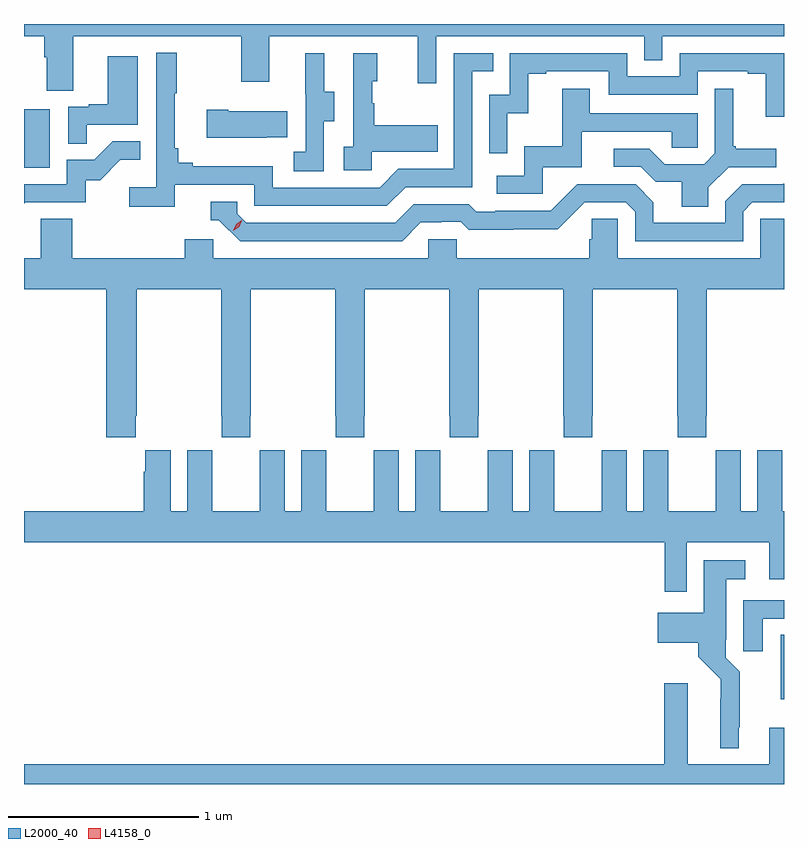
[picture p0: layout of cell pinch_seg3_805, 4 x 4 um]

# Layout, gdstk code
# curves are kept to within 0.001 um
import gdstk
lib = gdstk.Library(unit=1e-6, precision=1e-09)
def R(c, l, rs):  # rectangles x0, y0, x1, y1
    for r in rs: c.add(gdstk.rectangle(r[:2], r[2:], *l))
def P(c, l, *ps):  # polygons
    for p in ps: c.add(gdstk.Polygon(p, *l))
L2000_40 = (2000, 40)
L4158_0 = (4158, 0)

pinch_seg3_805 = lib.new_cell('pinch_seg3_805')
R(pinch_seg3_805, L2000_40, [(866.855,706.749,866.872,707.09), (862.872,709.548,863.008,709.855)])
P(pinch_seg3_805, L2000_40, [(863.131,710.24),(864.016,710.24),(864.016,710.001),(864.163,710.001),(864.163,710.24),(864.944,710.24),(864.944,709.992),(865.041,709.992),(865.041,710.24),(866.136,710.24),(866.136,710.113),(866.232,710.113),(866.232,710.24),(866.872,710.24),(866.872,710.304),(862.872,710.304),(862.872,710.24),(862.979,710.24),(862.979,710.128),(862.991,710.128),(862.991,709.954),(863.131,709.954)],
  [(863.666,709.458),(864.084,709.458),(864.084,709.347),(864.781,709.347),(864.88,709.446),(865.23,709.446),(865.23,710.055),(865.343,710.055),(865.343,710.151),(865.134,710.151),(865.134,709.542),(864.843,709.542),(864.744,709.443),(864.18,709.443),(864.18,709.555),(863.761,709.555),(863.761,709.574),(863.684,709.574),(863.684,709.651),(863.665,709.651),(863.665,709.939),(863.677,709.939),(863.677,710.152),(863.568,710.152),(863.568,709.444),(863.427,709.444),(863.427,709.342),(863.666,709.342)],
  [(865.416,709.835),(865.526,709.835),(865.526,710.043),(865.621,710.043),(865.621,710.055),(865.95,710.055),(865.95,709.932),(866.418,709.932),(866.418,710.055),(866.681,710.055),(866.681,710.043),(866.777,710.043),(866.777,709.817),(866.872,709.817),(866.872,710.151),(866.322,710.151),(866.322,710.028),(866.046,710.028),(866.046,710.151),(865.428,710.151),(865.428,709.932),(865.32,709.932),(865.32,709.623),(865.416,709.623)],
  [(864.45,709.792),(864.505,709.792),(864.505,709.947),(864.451,709.947),(864.451,710.149),(864.353,710.149),(864.353,709.935),(864.354,709.935),(864.354,709.631),(864.291,709.631),(864.291,709.528),(864.45,709.528)],
  [(864.702,709.631),(865.049,709.631),(865.049,709.771),(864.715,709.771),(864.715,709.886),(864.705,709.886),(864.705,710.004),(864.73,710.004),(864.73,710.149),(864.606,710.149),(864.606,709.658),(864.555,709.658),(864.555,709.533),(864.702,709.533)],
  [(863.201,709.773),(863.47,709.773),(863.47,710.134),(863.312,710.134),(863.312,709.882),(863.213,709.882),(863.213,709.869),(863.106,709.869),(863.106,709.675),(863.201,709.675)],
  [(865.602,709.551),(865.807,709.551),(865.807,709.737),(866.281,709.737),(866.281,709.653),(866.418,709.653),(866.418,709.833),(865.849,709.833),(865.849,709.963),(865.705,709.963),(865.705,709.66),(865.506,709.66),(865.506,709.506),(865.359,709.506),(865.359,709.41),(865.602,709.41)],
  [(866.473,709.444),(866.58,709.551),(866.83,709.551),(866.83,709.648),(866.617,709.648),(866.617,709.66),(866.605,709.66),(866.605,709.963),(866.508,709.963),(866.508,709.623),(866.451,709.566),(866.245,709.566),(866.164,709.647),(865.977,709.647),(865.977,709.554),(866.118,709.554),(866.198,709.474),(866.333,709.474),(866.333,709.342),(866.473,709.342)],
  [(864.149,709.709),(864.257,709.709),(864.257,709.846),(863.947,709.846),(863.947,709.854),(863.835,709.854),(863.835,709.706),(864.149,709.706)],
  [(862.877,709.365),(863.196,709.365),(863.196,709.482),(863.272,709.482),(863.379,709.589),(863.483,709.589),(863.483,709.688),(863.339,709.688),(863.241,709.59),(863.097,709.59),(863.097,709.461),(862.872,709.461),(862.872,709.36),(862.877,709.36)],
  [(864.961,709.26),(865.068,709.26),(865.068,709.263),(865.171,709.263),(865.213,709.221),(865.446,709.221),(865.446,709.223),(865.682,709.223),(865.824,709.365),(866.04,709.365),(866.088,709.317),(866.088,709.161),(866.658,709.161),(866.658,709.317),(866.706,709.365),(866.872,709.365),(866.872,709.463),(866.868,709.463),(866.868,709.461),(866.652,709.461),(866.562,709.371),(866.562,709.257),(866.185,709.257),(866.185,709.367),(866.091,709.461),(865.785,709.461),(865.644,709.32),(865.351,709.32),(865.351,709.317),(865.252,709.317),(865.213,709.356),(864.924,709.356),(864.825,709.257),(864.042,709.257),(863.994,709.305),(863.994,709.368),(863.855,709.368),(863.855,709.272),(863.898,709.272),(864.009,709.161),(864.862,709.161)],
  [(863.911,708.241),(863.913,708.241),(863.913,708.129),(864.063,708.129),(864.063,708.241),(864.066,708.241),(864.066,708.908),(864.511,708.908),(864.511,708.241),(864.513,708.241),(864.513,708.129),(864.663,708.129),(864.663,708.241),(864.666,708.241),(864.666,708.908),(865.111,708.908),(865.111,708.241),(865.113,708.241),(865.113,708.129),(865.263,708.129),(865.263,708.241),(865.266,708.241),(865.266,708.908),(865.711,708.908),(865.711,708.241),(865.713,708.241),(865.713,708.129),(865.863,708.129),(865.863,708.241),(865.866,708.241),(865.866,708.908),(866.311,708.908),(866.311,708.241),(866.313,708.241),(866.313,708.129),(866.463,708.129),(866.463,708.241),(866.466,708.241),(866.466,708.908),(866.872,708.908),(866.872,709.28),(866.748,709.28),(866.748,709.072),(865.998,709.072),(865.998,709.28),(865.861,709.28),(865.861,709.17),(865.847,709.17),(865.847,709.072),(865.149,709.072),(865.149,709.17),(864.999,709.17),(864.999,709.072),(863.868,709.072),(863.868,709.17),(863.717,709.17),(863.717,709.072),(863.126,709.072),(863.126,709.28),(862.961,709.28),(862.961,709.072),(862.872,709.072),(862.872,708.908),(863.306,708.908),(863.306,708.129),(863.459,708.129),(863.459,708.241),(863.466,708.241),(863.466,708.908),(863.911,708.908)],
  [(866.361,707.576),(866.795,707.576),(866.795,707.382),(866.872,707.382),(866.872,707.74),(866.863,707.74),(866.863,707.948),(866.862,707.948),(866.862,708.061),(866.732,708.061),(866.732,707.74),(866.644,707.74),(866.644,708.061),(866.514,708.061),(866.514,707.948),(866.513,707.948),(866.513,707.74),(866.263,707.74),(866.263,707.948),(866.262,707.948),(866.262,708.061),(866.132,708.061),(866.132,707.74),(866.044,707.74),(866.044,708.061),(865.914,708.061),(865.914,707.948),(865.913,707.948),(865.913,707.74),(865.663,707.74),(865.663,707.948),(865.662,707.948),(865.662,708.061),(865.532,708.061),(865.532,707.74),(865.444,707.74),(865.444,708.061),(865.314,708.061),(865.314,707.948),(865.313,707.948),(865.313,707.74),(865.063,707.74),(865.063,707.948),(865.062,707.948),(865.062,708.061),(864.932,708.061),(864.932,707.74),(864.844,707.74),(864.844,708.061),(864.714,708.061),(864.714,707.948),(864.713,707.948),(864.713,707.74),(864.463,707.74),(864.463,707.948),(864.462,707.948),(864.462,708.061),(864.332,708.061),(864.332,707.74),(864.244,707.74),(864.244,708.061),(864.114,708.061),(864.114,707.948),(864.113,707.948),(864.113,707.74),(863.863,707.74),(863.863,707.948),(863.862,707.948),(863.862,708.061),(863.732,708.061),(863.732,707.74),(863.644,707.74),(863.644,708.061),(863.51,708.061),(863.51,707.948),(863.501,707.948),(863.501,707.74),(862.872,707.74),(862.872,707.576),(866.245,707.576),(866.245,707.316),(866.361,707.316)],
  [(866.635,706.603),(866.639,706.603),(866.639,706.894),(866.565,706.968),(866.565,707.062),(866.569,707.062),(866.569,707.381),(866.668,707.381),(866.668,707.482),(866.45,707.482),(866.45,707.206),(866.208,707.206),(866.208,707.048),(866.42,707.048),(866.42,706.974),(866.538,706.856),(866.537,706.493),(866.635,706.493)],
  [(866.761,707.175),(866.872,707.175),(866.872,707.271),(866.657,707.271),(866.657,707.004),(866.761,707.004)],
  [(866.872,706.6),(866.795,706.6),(866.795,706.408),(866.365,706.408),(866.365,706.834),(866.243,706.834),(866.243,706.408),(862.872,706.408),(862.872,706.304),(866.872,706.304)])
P(pinch_seg3_805, L4158_0, [(863.973,709.217),(863.973,709.217),(863.988,709.25),(864.019,709.27),(864.019,709.27),(864.019,709.269),(864.004,709.237),(863.973,709.217)])

lib.write_gds('pinch_seg3_805.gds')
